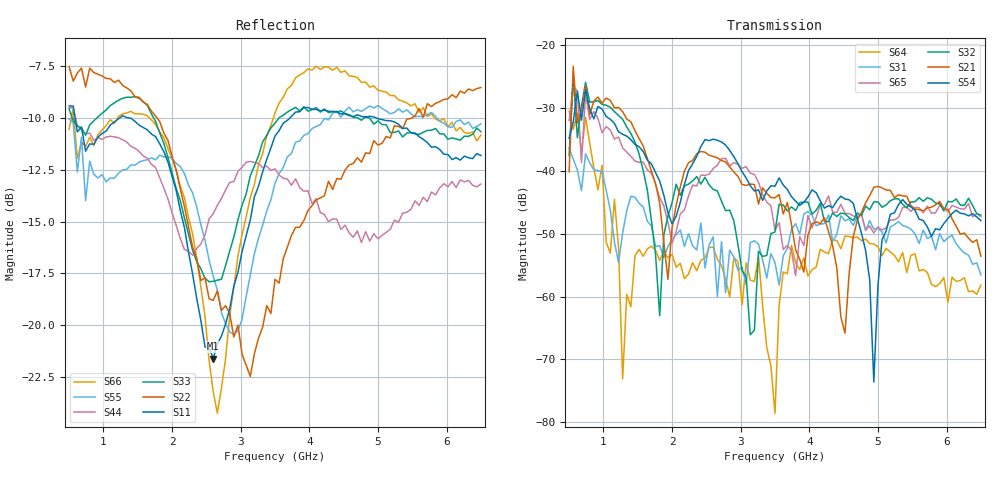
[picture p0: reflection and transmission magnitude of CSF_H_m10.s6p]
!Keysight Technologies,M9804A,MY58100912,A.14.10.03
!Date: Thursday, April 27, 2023 10:28:33
!Correction: S11(C  6-Port  )
!S12(C  6-Port  )
!S13(C  6-Port  )
!S14(C  6-Port  )
!S15(C  6-Port  )
!S16(C  6-Port  )
!S21(C  6-Port  )
!S22(C  6-Port  )
!S23(C  6-Port  )
!S24(C  6-Port  )
!S25(C  6-Port  )
!S26(C  6-Port  )
!S31(C  6-Port  )
!S32(C  6-Port  )
!S33(C  6-Port  )
!S34(C  6-Port  )
!S35(C  6-Port  )
!S36(C  6-Port  )
!S41(C  6-Port  )
!S42(C  6-Port  )
!S43(C  6-Port  )
!S44(C  6-Port  )
!S45(C  6-Port  )
!S46(C  6-Port  )
!S51(C  6-Port  )
!S52(C  6-Port  )
!S53(C  6-Port  )
!S54(C  6-Port  )
!S55(C  6-Port  )
!S56(C  6-Port  )
!S61(C  6-Port  )
!S62(C  6-Port  )
!S63(C  6-Port  )
!S64(C  6-Port  )
!S65(C  6-Port  )
!S66(C  6-Port  )
!S6P File: Measurement: :
# Hz S  RI  R 50
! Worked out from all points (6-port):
!   101 points, 500 MHz to 6.5 GHz, reference 50 ohm
!   strongest paths, dB at 500 MHz, 2 GHz, 3.5 GHz, 5 GHz, 6.5 GHz:
!     S54: -34.8, -48.4, -42.4, -58.2, -47.9
!     S21: -40.1, -49.1, -44.3, -42.4, -53.6
!     S32: -37.5, -45.1, -49.7, -44.9, -47.0
!     S65: -32.0, -51.5, -49.4, -48.9, -47.2
!     S31: -36.4, -50.9, -54.6, -49.1, -56.5
!     S64: -30.5, -53.3, -78.6, -52.1, -58.2
!   lowest |S11| = -21.6 dB at 2.6 GHz (marker M1), VSWR 1.18, Z = 42.6 + j2.03 ohm
!   |S11| at or under -10 dB: 587.6 MHz to 1.235 GHz (647.4 MHz wide, 71 % of centre); 1.377 GHz to 3.716 GHz (2.339 GHz wide, 91.8 % of centre); 4.974 GHz to end of sweep
